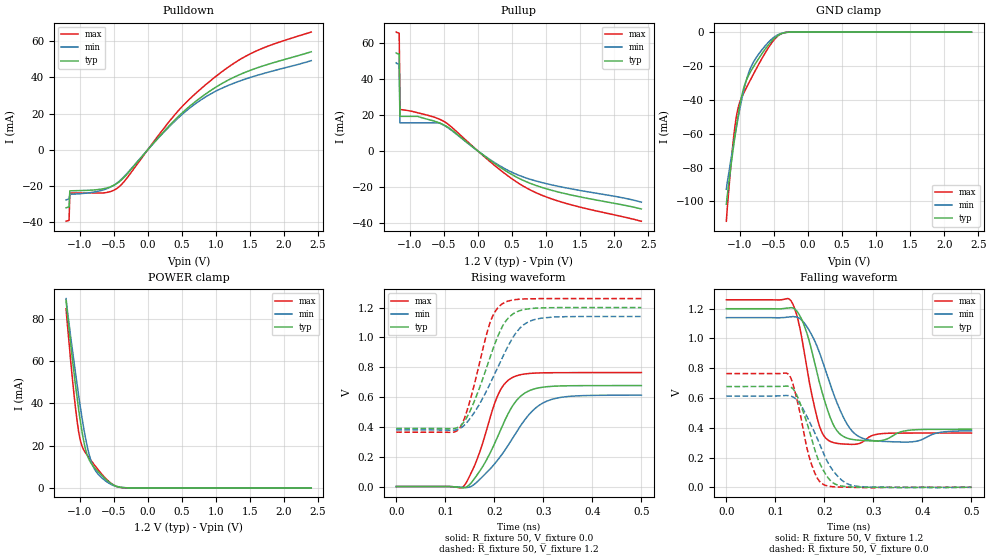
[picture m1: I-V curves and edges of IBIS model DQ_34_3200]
| [Disclaimer]  This software code and all associated documentation, comments
| or other information (collectively "Software") is provided
| "AS IS" without warranty of any kind. MICRON TECHNOLOGY, INC.
| ("MTI") EXPRESSLY DISCLAIMS ALL WARRANTIES EXPRESS OR IMPLIED,
| INCLUDING BUT NOT LIMITED TO, NONINFRINGEMENT OF THIRD PARTY
| RIGHTS, AND ANY IMPLIED WARRANTIES OF MERCHANTABILITY OR
| FITNESS FOR ANY PARTICULAR PURPOSE. MTI DOES NOT WARRANT THAT
| THE SOFTWARE WILL MEET YOUR REQUIREMENTS, OR THAT THE
| OPERATION OF THE SOFTWARE WILL BE UNINTERRUPTED OR ERROR-FREE.
| FURTHERMORE, MTI DOES NOT MAKE ANY REPRESENTATIONS REGARDING
| THE USE OR THE RESULTS OF THE USE OF THE SOFTWARE IN TERMS OF
| ITS CORRECTNESS, ACCURACY, RELIABILITY, OR OTHERWISE. THE
| ENTIRE RISK ARISING OUT OF USE OR PERFORMANCE OF THE SOFTWARE
| REMAINS WITH YOU. IN NO EVENT SHALL MTI, ITS AFFILIATED
| COMPANIES OR THEIR SUPPLIERS BE LIABLE FOR ANY DIRECT,
| INDIRECT, CONSEQUENTIAL, INCIDENTAL, OR SPECIAL DAMAGES
| (INCLUDING, WITHOUT LIMITATION, DAMAGES FOR LOSS OF PROFITS,
| BUSINESS INTERRUPTION, OR LOSS OF INFORMATION) ARISING OUT OF
| YOUR USE OF OR INABILITY TO USE THE SOFTWARE, EVEN IF MTI HAS
| BEEN ADVISED OF THE POSSIBILITY OF SUCH DAMAGES. Because some
| jurisdictions prohibit the exclusion or limitation of
| liability for consequential or incidental damages, the above
| limitation may not apply to you.
| [Copyright] Copyright 2022 Micron Technology, Inc. All rights reserved.
| From z11b_it.ibs, Micron Technology,Inc.
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| MODEL DQ_34_3200 (34 Ohm Data I/O with no ODT, 1600-3200Mbps)
[Model]   DQ_34_3200
Model_type   I/O
Vinl = 905.000mV
Vinh = 1015.000mV
Vmeas = 960.000mV
Vref = 1200.000mV
Cref = 0.0pF
Rref = 50.000Ohm
|   typ   min   max
|C_comp   0.780pF   0.730pF   0.830pF
C_comp_pullup   0.390pF   0.365pF   0.415pF
C_comp_pulldown   0.390pF   0.365pF   0.415pF
[Model Spec]
| Timing spec test load voltage corners
Vref   1.2000V   1.1400V   1.2600V
| Dynamic Overshoot Parameters from DDR4 Specification
|D_overshoot_ampl_h   0.40   NA   NA
|D_overshoot_ampl_l   0.40   NA   NA
|D_overshoot_area_h   0.0800n   NA   NA
|D_overshoot_area_l   0.0800n   NA   NA
[Voltage Range]   1.2000V   1.1400V   1.2600V
| Junction Temperature (Ambient temp is 35C typ, 95C min, -40C max)
[Temperature Range]   50.0   110.0   -40.0
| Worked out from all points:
|   slope of the pulldown table from 0 to 0.18 V, typ, clamps not added: 23.2 ohm
|   slope of the pullup table from 0 to 0.18 V, typ, clamps not added: 35.1 ohm
|   GND clamp passes 1 mA (typ) near -0.39 V on its own axis
|   POWER clamp passes 1 mA (typ) near -0.48 V on its own axis
|   rising waveform, R_fixture 50, V_fixture 0.0: 20-80 % time 60.9ps typ, 80.1ps min, 45.8ps max; typ from 0 V to 0.677 V
|   rising waveform, R_fixture 50, V_fixture 1.2: 20-80 % time 54.5ps typ, 69.8ps min, 42ps max; typ from 0.39 V to 1.2 V
|   falling waveform, R_fixture 50, V_fixture 1.2: 20-80 % time 39.1ps typ, 50.6ps min, 30.3ps max; typ from 1.2 V to 0.39 V
|   falling waveform, R_fixture 50, V_fixture 0.0: 20-80 % time 41.3ps typ, 53.1ps min, 31.5ps max; typ from 0.677 V to 0 V
[Pulldown]
|   Voltage   I(typ)   I(min)   I(max)
-1.2V     -32.14mA   -27.78mA   -39.59mA
-1.156V   -31.69mA   -27.3mA    -39.08mA
-1.145V   -22.74mA   -24.67mA   -23.97mA
-709.1mV  -21.94mA   -22.81mA   -23.95mA
-556.4mV  -20.62mA   -20.84mA   -23.23mA
-436.4mV  -18.22mA   -17.96mA   -20.95mA
-316.4mV  -13.99mA   -13.57mA   -16.16mA
447.3mV   18.35mA    17.61mA    21.55mA
741.8mV   27.87mA    26.59mA    32.46mA
1.036V    35.47mA    33.1mA     41.66mA
1.604V    45.27mA    41.13mA    54.82mA
2.4V      54.19mA    49.29mA    65.12mA
[GND Clamp]
|   Voltage   I(typ)   I(min)   I(max)
-1.2V     -101.7mA   -92.86mA   -111.8mA
-1.135V   -79.96mA   -75.85mA   -79.4mA
-1.102V   -69.91mA   -67.92mA   -65.62mA
-1.058V   -57.35mA   -57.73mA   -51.32mA
-1.015V   -46.2mA    -48.11mA   -42.97mA
-938.2mV  -32.13mA   -33.39mA   -35.52mA
-883.6mV  -26.44mA   -25.42mA   -31.18mA
-829.1mV  -22.35mA   -19.88mA   -26.94mA
-632.7mV  -10.25mA   -8.308mA   -12.55mA
-436.4mV  -1.919mA   -1.478mA   -2.076mA
-250.9mV  -38.97uA   -39.89uA   -11.48uA
2.4V      0A         0A         0A
[Pullup]
|   Voltage   I(typ)   I(min)   I(max)
-1.2V     54.34mA    48.83mA    65.93mA
-1.156V   53.69mA    48.13mA    65.3mA
-1.145V   19.23mA    15.64mA    23.03mA
-883.6mV  19.19mA    15.64mA    21.19mA
-567.3mV  15.61mA    15.52mA    17.68mA
-392.7mV  11.91mA    11.62mA    13.47mA
0V        835.2nA    819.2nA    945.7nA
294.5mV   -8.176mA   -7.572mA   -9.5mA
567.3mV   -14.44mA   -12.91mA   -17.11mA
829.1mV   -18.76mA   -16.34mA   -22.68mA
1.375V    -24.4mA    -20.98mA   -29.85mA
2.4V      -32.09mA   -28.34mA   -38.91mA
[Power Clamp]
|   Voltage   I(typ)   I(min)   I(max)
-1.2V     88.83mA    89.6mA     84.8mA
-1.135V   68.72mA    72.21mA    60.94mA
-1.08V    53.49mA    58.78mA    43.22mA
-1.036V   42.21mA    48.5mA     31.23mA
-992.7mV  32.04mA    38.77mA    22.83mA
-916.4mV  18.53mA    23.93mA    16.66mA
-840mV    12.03mA    13.41mA    13.24mA
-763.6mV  8.812mA    7.919mA    9.989mA
-632.7mV  4.49mA     3.59mA     4.929mA
-490.9mV  1.198mA    934.4uA    1.128mA
-349.1mV  89.69uA    82.61uA    42.61uA
2.4V      0A         0A         0A
[Ramp]
|   typ   min   max
dV/dt_r   406.22m/60.85p   367.61m/80.07p   458.39m/45.78p
dV/dt_f   486.13m/39.13p   456.28m/50.59p   537.23m/30.31p
R_load = 50
[Rising Waveform]
R_fixture = 50
V_fixture = 0.0
|   Time   V(typ)   V(min)   V(max)
0s        2.227uV    6.561uV    119.4nV
137ps     -8.109mV   -6.452mV   528.5uV
165ps     78.18mV    30.82mV    183mV
208ps     342.8mV    182.1mV    617.3mV
222ps     446.9mV    245.1mV    692mV
239ps     548.9mV    332.9mV    734.2mV
256ps     611.9mV    418.9mV    751.6mV
278ps     650.9mV    507.7mV    759.8mV
314ps     671.2mV    580.9mV    763.2mV
500ps     677mV      612.7mV    764mV
[Rising Waveform]
R_fixture   = 50
V_fixture   = 1.2
V_fixture_min = 1.14
V_fixture_max = 1.26
|   Time   V(typ)   V(min)   V(max)
0s        389.8mV    380mV      364.6mV
114ps     388mV      377.1mV    363.6mV
129ps     402.6mV    387.7mV    389.5mV
149ps     495.2mV    449.1mV    558.7mV
191ps     862.6mV    686.8mV    1.095V
205ps     989mV      783.9mV    1.189V
221ps     1.098V     895.1mV    1.234V
251ps     1.178V     1.058V     1.256V
284ps     1.196V     1.121V     1.259V
500ps     1.2V       1.14V      1.26V
[Falling Waveform]
R_fixture   = 50
V_fixture   = 1.2
V_fixture_min = 1.14
V_fixture_max = 1.26
|   Time   V(typ)   V(min)   V(max)
0s        1.2V       1.14V      1.26V
132ps     1.207V     1.146V     1.253V
145ps     1.179V     1.142V     1.141V
158ps     1.095V     1.108V     925.3mV
187ps     742.5mV    931.2mV    443.8mV
211ps     476.8mV    699.8mV    309.7mV
246ps     330.8mV    426.3mV    289.5mV
279ps     314.2mV    328.3mV    306.9mV
376ps     384.4mV    304.9mV    364.5mV
500ps     389.8mV    379.5mV    364.6mV
[Falling Waveform]
R_fixture = 50
V_fixture = 0.0
|   Time   V(typ)   V(min)   V(max)
0s        677.1mV    612.8mV    764mV
128ps     677.5mV    615.4mV    755.3mV
135ps     664.2mV    608.5mV    702.8mV
144ps     616.8mV    587mV      590.6mV
171ps     360mV      431.8mV    181.9mV
185ps     207mV      331.8mV    65.04mV
199ps     107.3mV    222.3mV    17.19mV
226ps     16.04mV    78.59mV    1.916mV
257ps     2.082mV    12.2mV     -16.59uV
500ps     17.6uV     -118.9uV   4.574uV
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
